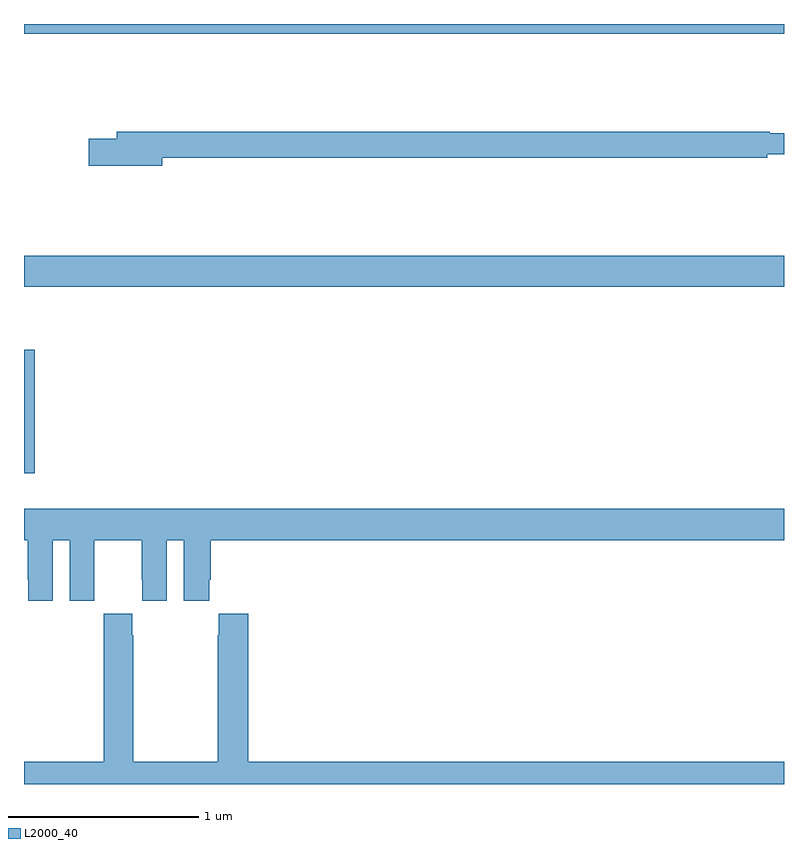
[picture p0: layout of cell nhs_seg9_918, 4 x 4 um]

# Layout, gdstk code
import gdstk
lib = gdstk.Library(unit=1e-6, precision=1e-09)
def R(c, l, rs):  # rectangles x0, y0, x1, y1
    for r in rs: c.add(gdstk.rectangle(r[:2], r[2:], *l))
def P(c, l, *ps):  # polygons
    for p in ps: c.add(gdstk.Polygon(p, *l))
L2000_40 = (2000, 40)

nhs_seg9_918 = lib.new_cell('nhs_seg9_918')
R(nhs_seg9_918, L2000_40, [(161,1166.136,161.057,1166.785), (161,1167.116,165,1167.28), (161,1168.448,165,1168.5)])
P(nhs_seg9_918, L2000_40, [(161.728,1167.796),(164.912,1167.796),(164.912,1167.815),(165,1167.815),(165,1167.925),(164.924,1167.925),(164.924,1167.932),(161.489,1167.932),(161.489,1167.896),(161.34,1167.896),(161.34,1167.754),(161.728,1167.754)],
  [(161.152,1165.784),(161.24,1165.784),(161.24,1165.464),(161.37,1165.464),(161.37,1165.576),(161.371,1165.576),(161.371,1165.784),(161.621,1165.784),(161.621,1165.576),(161.622,1165.576),(161.622,1165.464),(161.752,1165.464),(161.752,1165.784),(161.84,1165.784),(161.84,1165.464),(161.974,1165.464),(161.974,1165.576),(161.984,1165.576),(161.984,1165.784),(165,1165.784),(165,1165.948),(161,1165.948),(161,1165.784),(161.021,1165.784),(161.021,1165.576),(161.022,1165.576),(161.022,1165.464),(161.152,1165.464)],
  [(165,1164.616),(162.179,1164.616),(162.179,1165.396),(162.025,1165.396),(162.025,1165.283),(162.019,1165.283),(162.019,1164.616),(161.574,1164.616),(161.574,1165.283),(161.571,1165.283),(161.571,1165.396),(161.421,1165.396),(161.421,1165.283),(161.419,1165.283),(161.419,1164.616),(161,1164.616),(161,1164.5),(165,1164.5)])

lib.write_gds('nhs_seg9_918.gds')
